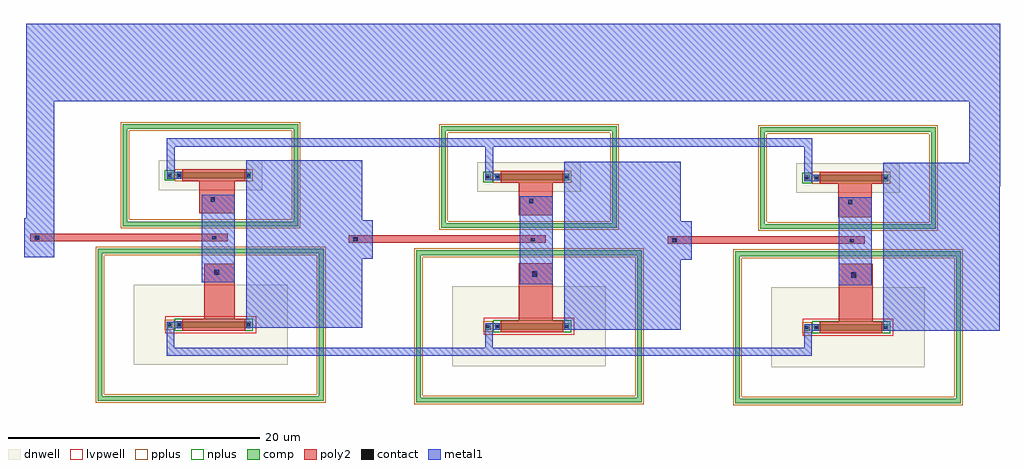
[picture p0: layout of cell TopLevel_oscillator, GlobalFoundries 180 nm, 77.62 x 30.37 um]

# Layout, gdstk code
import gdstk
lib = gdstk.Library(unit=1e-6, precision=1e-09)
def R(c, l, rs):  # rectangles x0, y0, x1, y1
    for r in rs: c.add(gdstk.rectangle(r[:2], r[2:], *l))
def P(c, l, *ps):  # polygons
    for p in ps: c.add(gdstk.Polygon(p, *l))
dnwell = (12, 0)
comp = (22, 0)
poly2 = (30, 0)
pplus = (31, 0)
nplus = (32, 0)
contact = (33, 0)
metal1 = (34, 0)
lvpwell = (204, 0)

pfet_2 = lib.new_cell('pfet$2')
R(pfet_2, dnwell, [(-1.42,-0.93,6.81,1.43)])
R(pfet_2, comp, [(-0.8,0,-0.36,0.5), (0,0,5.88,0.5)])
P(pfet_2, comp, [(-4.28,-3.79),(-4.28,3.93),(-3.92,3.93),(-3.92,-3.43),(9.31,-3.43),(9.31,3.93),(-4.28,3.93),(-4.28,4.29),(9.67,4.29),(9.67,-3.79)])
R(pfet_2, poly2, [(0.44,-0.22,5.44,0.72)])
R(pfet_2, pplus, [(-0.16,-0.23,6.04,0.73)])
P(pfet_2, pplus, [(-4.44,-3.95),(-4.44,3.77),(-3.76,3.77),(-3.76,-3.27),(9.15,-3.27),(9.15,3.77),(-4.44,3.77),(-4.44,4.45),(9.83,4.45),(9.83,-3.95)])
R(pfet_2, nplus, [(-0.96,-0.16,-0.2,0.66)])
R(pfet_2, contact, [(-0.69,0.14,-0.47,0.36), (0.07,0.14,0.29,0.36), (5.59,0.14,5.81,0.36)])
R(pfet_2, metal1, [(-0.01,-0.01,0.37,0.51), (5.51,-0.01,5.89,0.51), (-0.8,0,-0.36,0.5)])

nfet_2 = lib.new_cell('nfet$2')
R(nfet_2, dnwell, [(-3.42,-2.93,8.81,3.43)])
R(nfet_2, comp, [(-0.8,0,-0.36,0.5), (0,0,5.88,0.5)])
P(nfet_2, comp, [(-6.28,-5.79),(-6.28,5.93),(-5.92,5.93),(-5.92,-5.43),(11.31,-5.43),(11.31,5.93),(-6.28,5.93),(-6.28,6.29),(11.67,6.29),(11.67,-5.79)])
R(nfet_2, poly2, [(0.44,-0.22,5.44,0.72)])
R(nfet_2, pplus, [(-0.96,-0.16,-0.2,0.66)])
P(nfet_2, pplus, [(-6.44,-5.95),(-6.44,5.77),(-5.76,5.77),(-5.76,-5.27),(11.15,-5.27),(11.15,5.77),(-6.44,5.77),(-6.44,6.45),(11.83,6.45),(11.83,-5.95)])
R(nfet_2, nplus, [(-0.16,-0.23,6.04,0.73)])
R(nfet_2, contact, [(-0.69,0.14,-0.47,0.36), (0.07,0.14,0.29,0.36), (5.59,0.14,5.81,0.36)])
R(nfet_2, metal1, [(-0.01,-0.01,0.37,0.51), (5.51,-0.01,5.89,0.51), (-0.8,0,-0.36,0.5)])
R(nfet_2, lvpwell, [(-0.92,-0.43,6.31,0.93)])

inverter = lib.new_cell('inverter')
R(inverter, poly2, [(-12.945,1.695,2.735,2.295)])
R(inverter, contact, [(1.665,-0.985,2.055,-0.575), (-12.605,1.825,-12.245,2.145), (1.515,1.835,1.845,2.075), (1.395,4.845,1.725,5.195)])
R(inverter, metal1, [(-2.085,-7.205,-1.495,-4.695), (-2.105,-5.205,-0.935,-4.695), (4.205,-5.195,13.455,8.135), (0.665,-1.575,3.295,5.405), (-13.455,0.435,-11.045,3.505), (-2.105,6.685,-0.935,7.195), (-2.105,6.695,-1.455,9.895)])
inverter.add(gdstk.Reference(pfet_2, (-1.305,6.695)))
inverter.add(gdstk.Reference(nfet_2, (-1.305,-5.195)))

toplevel_oscillator = lib.new_cell('TopLevel_oscillator')
R(toplevel_oscillator, poly2, [(27.235,20.18,29.93,25.34), (1.77,20.35,4.495,25.39), (-23.23,20.44,-20.82,25.35), (27.19,29.02,29.865,32.405), (1.79,29.18,4.495,32.485), (-23.65,29.33,-20.82,32.43)])
R(toplevel_oscillator, metal1, [(-26.2,18.03,25.075,18.67), (-37.38,25.86,-35.16,40.37), (37.59,31.51,40.05,44.43), (-26.22,34.62,25.115,35.32), (-37.38,38.24,40.05,44.43)])
toplevel_oscillator.add(gdstk.Reference(inverter, (1.2,25.29)))
toplevel_oscillator.add(gdstk.Reference(inverter, (26.57,25.21)))
toplevel_oscillator.add(gdstk.Reference(inverter, (-24.115,25.425)))

lib.write_gds('TopLevel_oscillator.gds')
